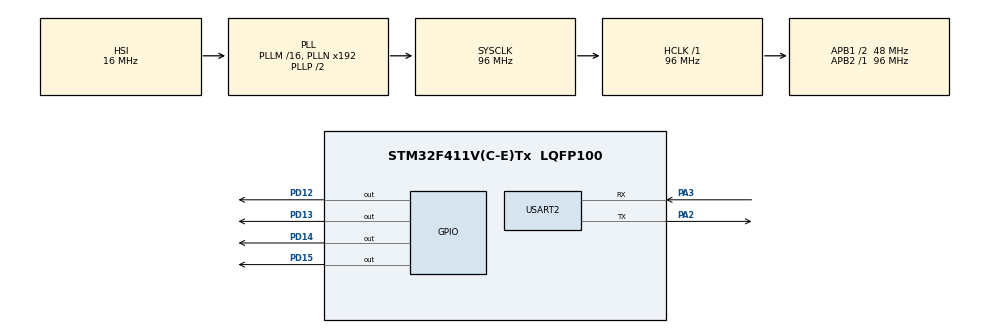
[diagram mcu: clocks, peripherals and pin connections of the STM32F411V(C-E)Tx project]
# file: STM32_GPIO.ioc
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Mcu.Family=STM32F4
Mcu.Name=STM32F411V(C-E)Tx
Mcu.Package=LQFP100
NVIC.PriorityGroup=NVIC_PRIORITYGROUP_4
NVIC.USART2_IRQn=true\:0\:0\:false\:false\:true\:true\:true\:true
PA13.Mode=Trace_Asynchronous_SW
PA13.Signal=SYS_JTMS-SWDIO
PA14.Mode=Trace_Asynchronous_SW
PA14.Signal=SYS_JTCK-SWCLK
PA2.Mode=Asynchronous
PA2.Signal=USART2_TX
PA3.Mode=Asynchronous
PA3.Signal=USART2_RX
PB3.Mode=Trace_Asynchronous_SW
PB3.Signal=SYS_JTDO-SWO
PD12.Signal=GPIO_Output
PD13.Signal=GPIO_Output
PD14.Signal=GPIO_Output
PD15.Signal=GPIO_Output
ProjectManager.HeapSize=0x200
ProjectManager.StackSize=0x400
ProjectManager.TargetToolchain=STM32CubeIDE
RCC.AHBFreq_Value=96000000
RCC.APB1CLKDivider=RCC_HCLK_DIV2
RCC.APB1Freq_Value=48000000
RCC.APB1TimFreq_Value=96000000
RCC.APB2Freq_Value=96000000
RCC.APB2TimFreq_Value=96000000
RCC.CortexFreq_Value=96000000
RCC.HCLKFreq_Value=96000000
RCC.HSE_VALUE=25000000
RCC.HSI_VALUE=16000000
RCC.LSE_VALUE=32768
RCC.SYSCLKFreq_VALUE=96000000
RCC.SYSCLKSource=RCC_SYSCLKSOURCE_PLLCLK
RCC.VCOOutputFreq_Value=192000000
USART2.VirtualMode=VM_ASYNC
board=custom

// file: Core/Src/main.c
/* USER CODE BEGIN Header */
/**
  ******************************************************************************
  * @file           : main.c
  * @brief          : Main program body
  ******************************************************************************
  * @attention
  *
  * Copyright (c) 2023 STMicroelectronics.
  * All rights reserved.
  *
  * This software is licensed under terms that can be found in the LICENSE file
  * in the root directory of this software component.
  * If no LICENSE file comes with this software, it is provided AS-IS.
  *
  ******************************************************************************
  */
/* USER CODE END Header */
#include "main.h"

/* USER CODE BEGIN Includes */
#include <stdio.h>
/* USER CODE END Includes */

/* USER CODE BEGIN PD */
/* LED DECLARATION */
#define LED_PORT 	GPIOD
#define LED_GREEN 	GPIO_PIN_12
#define LED_ORANGE 	GPIO_PIN_13
#define LED_RED 	GPIO_PIN_14
#define LED_BLUE	GPIO_PIN_15
/* BUTTON DECLARATION*/
#define BUTTON_PORT GPIOA
#define BUTTON_PIN GPIO_PIN_0
/* USER CODE END PD */

UART_HandleTypeDef huart2;

void SystemClock_Config(void);
static void MX_GPIO_Init(void);
static void MX_USART2_UART_Init(void);

/* USER CODE BEGIN 0 */

/* Semihosting Debugging -------------------*/
extern void initialise_monitor_handles(void);
/* UART Debugging-------------------------
#ifdef __GNUC__
#define PUTCHAR_PROTOTYPE int __io_putchar(int ch)
#else
#define PUTCHAR_PROTOTYPE int fputc(int ch, FILE *f)
#endif

PUTCHAR_PROTOTYPE
{
  HAL_UART_Transmit(&huart2, (uint8_t *)&ch, 1, HAL_MAX_DELAY);
  return ch;
}
*/
/* SWO+SWD Debugging ----------------------
int _write(int file, char *ptr, int len) {
  int DataIdx;
  for (DataIdx = 0; DataIdx < len; DataIdx++) {
    ITM_SendChar(*ptr++);
  }
  return len;
}
*/
/* USER CODE END 0 */

int main(void)
{
  /* USER CODE BEGIN 1 */

  initialise_monitor_handles();
  /* USER CODE END 1 */

  /* MCU Configuration--------------------------------------------------------*/

  /* Reset of all peripherals, Initializes the Flash interface and the Systick. */
  HAL_Init();

  /* Configure the system clock */
  SystemClock_Config();

  /* Initialize all configured peripherals */
  MX_GPIO_Init();
  MX_USART2_UART_Init();
  /* USER CODE BEGIN 2 */
  for (int i=0; i<10; i++)
  {
	  HAL_GPIO_WritePin(LED_PORT, LED_GREEN, GPIO_PIN_SET);
	  HAL_Delay(100);
	  HAL_GPIO_WritePin(LED_PORT, LED_GREEN,GPIO_PIN_RESET);
	  HAL_Delay(100);
  }
  HAL_GPIO_WritePin(LED_PORT, LED_ORANGE,GPIO_PIN_SET);
  HAL_GPIO_WritePin(LED_PORT, LED_RED,GPIO_PIN_SET);
  HAL_GPIO_WritePin(LED_PORT, LED_BLUE,GPIO_PIN_SET);

  /* USER CODE END 2 */

  /* Infinite loop */
  /* USER CODE BEGIN WHILE */
  while (1)
  {
	 uint8_t status = HAL_GPIO_ReadPin(BUTTON_PORT,BUTTON_PIN);
	 printf("\n status: %d", status);
	 HAL_GPIO_WritePin(LED_PORT, LED_GREEN, status);

    /* USER CODE END WHILE */

  }
}

void SystemClock_Config(void)
{
  RCC_OscInitTypeDef RCC_OscInitStruct = {0};
  RCC_ClkInitTypeDef RCC_ClkInitStruct = {0};

  /** Configure the main internal regulator output voltage
  */
  __HAL_RCC_PWR_CLK_ENABLE();
  __HAL_PWR_VOLTAGESCALING_CONFIG(PWR_REGULATOR_VOLTAGE_SCALE1);

  /** Initializes the RCC Oscillators according to the specified parameters
  * in the RCC_OscInitTypeDef structure.
  */
  RCC_OscInitStruct.OscillatorType = RCC_OSCILLATORTYPE_HSI;
  RCC_OscInitStruct.HSIState = RCC_HSI_ON;
  RCC_OscInitStruct.HSICalibrationValue = RCC_HSICALIBRATION_DEFAULT;
  RCC_OscInitStruct.PLL.PLLState = RCC_PLL_ON;
  RCC_OscInitStruct.PLL.PLLSource = RCC_PLLSOURCE_HSI;
  RCC_OscInitStruct.PLL.PLLM = 16;
  RCC_OscInitStruct.PLL.PLLN = 192;
  RCC_OscInitStruct.PLL.PLLP = RCC_PLLP_DIV2;
  RCC_OscInitStruct.PLL.PLLQ = 4;
  if (HAL_RCC_OscConfig(&RCC_OscInitStruct) != HAL_OK)
  {
    Error_Handler();
  }

  /** Initializes the CPU, AHB and APB buses clocks
  */
  RCC_ClkInitStruct.ClockType = RCC_CLOCKTYPE_HCLK|RCC_CLOCKTYPE_SYSCLK
                              |RCC_CLOCKTYPE_PCLK1|RCC_CLOCKTYPE_PCLK2;
  RCC_ClkInitStruct.SYSCLKSource = RCC_SYSCLKSOURCE_PLLCLK;
  RCC_ClkInitStruct.AHBCLKDivider = RCC_SYSCLK_DIV1;
  RCC_ClkInitStruct.APB1CLKDivider = RCC_HCLK_DIV2;
  RCC_ClkInitStruct.APB2CLKDivider = RCC_HCLK_DIV1;

  if (HAL_RCC_ClockConfig(&RCC_ClkInitStruct, FLASH_LATENCY_3) != HAL_OK)
  {
    Error_Handler();
  }
}

static void MX_USART2_UART_Init(void)
{

  huart2.Instance = USART2;
  huart2.Init.BaudRate = 115200;
  huart2.Init.WordLength = UART_WORDLENGTH_8B;
  huart2.Init.StopBits = UART_STOPBITS_1;
  huart2.Init.Parity = UART_PARITY_NONE;
  huart2.Init.Mode = UART_MODE_TX_RX;
  huart2.Init.HwFlowCtl = UART_HWCONTROL_NONE;
  huart2.Init.OverSampling = UART_OVERSAMPLING_16;
  if (HAL_UART_Init(&huart2) != HAL_OK)
  {
    Error_Handler();
  }

}

static void MX_GPIO_Init(void)
{
  GPIO_InitTypeDef GPIO_InitStruct = {0};

  /* GPIO Ports Clock Enable */
  __HAL_RCC_GPIOA_CLK_ENABLE();
  __HAL_RCC_GPIOD_CLK_ENABLE();

  /*Configure GPIO pin Output Level */
  HAL_GPIO_WritePin(GPIOD, GPIO_PIN_12|GPIO_PIN_13|GPIO_PIN_14|GPIO_PIN_15, GPIO_PIN_RESET);

  /*Configure GPIO pins : PD12 PD13 PD14 PD15 */
  GPIO_InitStruct.Pin = GPIO_PIN_12|GPIO_PIN_13|GPIO_PIN_14|GPIO_PIN_15;
  GPIO_InitStruct.Mode = GPIO_MODE_OUTPUT_PP;
  GPIO_InitStruct.Pull = GPIO_NOPULL;
  GPIO_InitStruct.Speed = GPIO_SPEED_FREQ_LOW;
  HAL_GPIO_Init(GPIOD, &GPIO_InitStruct);

}

void Error_Handler(void)
{
  __disable_irq();
  while (1)
  {
  }
}
